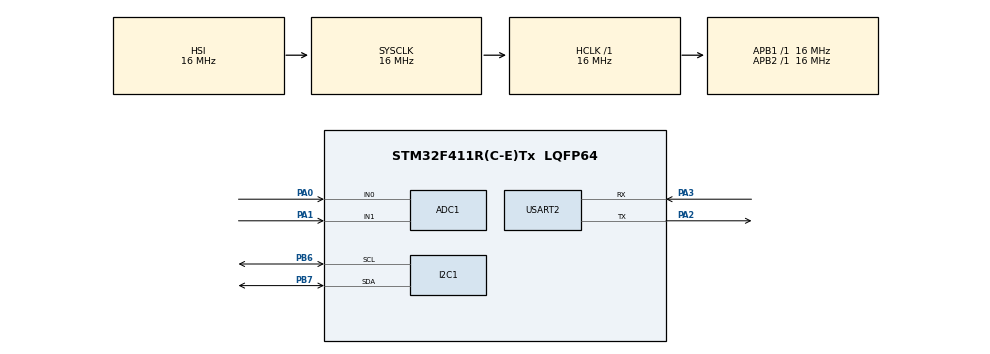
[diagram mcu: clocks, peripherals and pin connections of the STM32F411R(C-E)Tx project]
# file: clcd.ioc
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ADC1.Channel-0\#ChannelRegularConversion=ADC_CHANNEL_0
ADC1.Channel-1\#ChannelRegularConversion=ADC_CHANNEL_1
ADC1.ClockPrescaler=ADC_CLOCK_SYNC_PCLK_DIV6
ADC1.ContinuousConvMode=ENABLE
ADC1.DMAContinuousRequests=ENABLE
ADC1.InjNumberOfConversion=0
ADC1.NbrOfConversion=2
ADC1.NbrOfConversionFlag=1
ADC1.Rank-0\#ChannelRegularConversion=1
ADC1.Rank-1\#ChannelRegularConversion=2
ADC1.SamplingTime-0\#ChannelRegularConversion=ADC_SAMPLETIME_56CYCLES
ADC1.SamplingTime-1\#ChannelRegularConversion=ADC_SAMPLETIME_56CYCLES
ADC1.ScanConvMode=ENABLE
ADC1.master=1
Dma.ADC1.0.Direction=DMA_PERIPH_TO_MEMORY
Dma.ADC1.0.FIFOMode=DMA_FIFOMODE_DISABLE
Dma.ADC1.0.Instance=DMA2_Stream0
Dma.ADC1.0.MemDataAlignment=DMA_MDATAALIGN_HALFWORD
Dma.ADC1.0.MemInc=DMA_MINC_ENABLE
Dma.ADC1.0.Mode=DMA_CIRCULAR
Dma.ADC1.0.PeriphDataAlignment=DMA_PDATAALIGN_HALFWORD
Dma.ADC1.0.PeriphInc=DMA_PINC_DISABLE
Dma.ADC1.0.Priority=DMA_PRIORITY_LOW
Dma.Request0=ADC1
I2C1.I2C_Mode=I2C_Fast
Mcu.Family=STM32F4
Mcu.Name=STM32F411R(C-E)Tx
Mcu.Package=LQFP64
NVIC.DMA2_Stream0_IRQn=true\:0\:0\:false\:false\:true\:false\:true\:true
NVIC.PriorityGroup=NVIC_PRIORITYGROUP_4
NVIC.USART2_IRQn=true\:0\:0\:false\:false\:true\:true\:true\:true
PA0-WKUP.Signal=ADCx_IN0
PA1.Signal=ADCx_IN1
PA2.Mode=Asynchronous
PA2.Signal=USART2_TX
PA3.Mode=Asynchronous
PA3.Signal=USART2_RX
PB6.GPIO_Mode=GPIO_MODE_AF_OD
PB6.GPIO_Pu=GPIO_PULLUP
PB6.GPIO_Speed=GPIO_SPEED_FREQ_VERY_HIGH
PB6.Mode=I2C
PB6.Signal=I2C1_SCL
PB7.GPIO_Mode=GPIO_MODE_AF_OD
PB7.GPIO_Pu=GPIO_PULLUP
PB7.GPIO_Speed=GPIO_SPEED_FREQ_VERY_HIGH
PB7.Mode=I2C
PB7.Signal=I2C1_SDA
ProjectManager.HeapSize=0x200
ProjectManager.StackSize=0x400
ProjectManager.TargetToolchain=STM32CubeIDE
RCC.AHBFreq_Value=16000000
RCC.APB1Freq_Value=16000000
RCC.APB2Freq_Value=16000000
RCC.CortexFreq_Value=16000000
RCC.HSE_VALUE=25000000
RCC.HSI_VALUE=16000000
RCC.LSE_VALUE=32768
RCC.SYSCLKFreq_VALUE=16000000
RCC.VCOOutputFreq_Value=192000000
SH.ADCx_IN0.0=ADC1_IN0,IN0
SH.ADCx_IN1.0=ADC1_IN1,IN1
USART2.VirtualMode=VM_ASYNC
board=custom

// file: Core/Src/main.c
/* USER CODE BEGIN Header */
/**
  ******************************************************************************
  * @file           : main.c
  * @brief          : Main program body
  ******************************************************************************
  * @attention
  *
  * Copyright (c) 2024 STMicroelectronics.
  * All rights reserved.
  *
  * This software is licensed under terms that can be found in the LICENSE file
  * in the root directory of this software component.
  * If no LICENSE file comes with this software, it is provided AS-IS.
  *
  ******************************************************************************
  */
/* USER CODE END Header */
#include "main.h"

/* USER CODE BEGIN Includes */
#include "uart.h"
#include "I2C_CLCD.h"
/* USER CODE END Includes */

ADC_HandleTypeDef hadc1;
DMA_HandleTypeDef hdma_adc1;

I2C_HandleTypeDef hi2c1;

UART_HandleTypeDef huart2;

void SystemClock_Config(void);
static void MX_GPIO_Init(void);
static void MX_DMA_Init(void);
static void MX_I2C1_Init(void);
static void MX_USART2_UART_Init(void);
static void MX_ADC1_Init(void);

int main(void)
{

  /* MCU Configuration--------------------------------------------------------*/

  /* Reset of all peripherals, Initializes the Flash interface and the Systick. */
  HAL_Init();

  /* Configure the system clock */
  SystemClock_Config();

  /* Initialize all configured peripherals */
  MX_GPIO_Init();
  MX_DMA_Init();
  MX_I2C1_Init();
  MX_USART2_UART_Init();
  MX_ADC1_Init();
  /* USER CODE BEGIN 2 */
  initUart(&huart2);
  I2C_CLCD_init();
  I2C_CLCD_GotoXY(0, 0);
  I2C_CLCD_PutStr("                      ");
  I2C_CLCD_GotoXY(0, 1);
  I2C_CLCD_PutStr("                      ");
  I2C_CLCD_CustomFont(); //CustomFont Upload
//  I2C_CLCD_GotoXY(0, 0);
//  I2C_CLCD_PutStr("Hello world");
//  for(int i = 0;i<12;i++){
//     I2C_CLCD_Left();
//     HAL_Delay(100);
//  }
//  I2C_CLCD_ShiftStop();
//  I2C_CLCD_Cursor(1);
//  I2C_CLCD_CustomFont();
//  I2C_CLCD_GotoXY(12, 0);
//  I2C_CLCD_PutC(0);
//  I2C_CLCD_PutC(1);
//  I2C_CLCD_PutC(2);
//  I2C_CLCD_PutC(3);
//  I2C_CLCD_PutC(4);
//  I2C_CLCD_PutC(5);

  //0x00 ~ 0xff
  printf("i2c scan start\n");
  for (int address = 0; address < 256; address++){
     if(HAL_I2C_IsDeviceReady(&hi2c1, address, 0, 10) == HAL_OK){
        printf("%02x is ready\n", address);
     }
  }
  printf("i2c scan end\n");

   uint16_t adcValue[2];
   HAL_ADC_Start_DMA(&hadc1, (uint32_t *)adcValue, 2); //larger than channel's memory --> Can Average Data --> GOOD!
   I2C_CLCD_GotoXY(0,0);
   I2C_CLCD_PutC(0);
   I2C_CLCD_PutC(1);
   I2C_CLCD_PutC(2);
   I2C_CLCD_PutC(3);
//   I2C_CLCD_GotoXY(0,1);
   I2C_CLCD_PutC(4);
   I2C_CLCD_PutC(5);
   I2C_CLCD_PutC(6);
   I2C_CLCD_PutC(7);

   I2C_CLCD_CG_Update2();
  /* USER CODE END 2 */

  /* Infinite loop */
  /* USER CODE BEGIN WHILE */
  while (1)
  {
//     static int count = 0;
//     char str[20];
//     sprintf(str, "%6d", count);
//     I2C_CLCD_GotoXY(4+12, 1);
//     I2C_CLCD_PutStr(str);
//     count++;
//     HAL_Delay(50);

//     //A0 Conversion 0~4095
//     HAL_ADC_Start(&hadc1);
//     HAL_ADC_PollForConversion(&hadc1, 10);
//     uint16_t adcValue1 = HAL_ADC_GetValue(&hadc1);
//
//     //A1 Conversion
//     HAL_ADC_PollForConversion(&hadc1, 10);
//     uint16_t adcValue2 = HAL_ADC_GetValue(&hadc1);
//     HAL_ADC_Stop(&hadc1);
//
//     I2C_CLCD_Progressbar(adcValue1/51, 0); //0~4095 --> 0~80 mapping
//     I2C_CLCD_Progressbar(adcValue2/51, 1);

//     I2C_CLCD_Progressbar(adcValue[0]/51, 0); //0~4095 --> 0~80 mapping ch 0
//     I2C_CLCD_Progressbar(adcValue[1]/51, 1); //ch 1
     I2C_CLCD_CG_ScrollLeft2();
     I2C_CLCD_CG_DrawPixel2(39, 7-(adcValue[0]/585)); //273-->%15, 585 --> %7
     I2C_CLCD_CG_Update2();
     I2C_CLCD_GotoXY(9,1);

     char str[20];
     sprintf(str, "%5d",adcValue[0]); //1700 - 3200
     I2C_CLCD_PutStr(str);
     HAL_Delay(50);

    /* USER CODE END WHILE */

  }
}

void SystemClock_Config(void)
{
  RCC_OscInitTypeDef RCC_OscInitStruct = {0};
  RCC_ClkInitTypeDef RCC_ClkInitStruct = {0};

  /** Configure the main internal regulator output voltage
  */
  __HAL_RCC_PWR_CLK_ENABLE();
  __HAL_PWR_VOLTAGESCALING_CONFIG(PWR_REGULATOR_VOLTAGE_SCALE1);

  /** Initializes the RCC Oscillators according to the specified parameters
  * in the RCC_OscInitTypeDef structure.
  */
  RCC_OscInitStruct.OscillatorType = RCC_OSCILLATORTYPE_HSI;
  RCC_OscInitStruct.HSIState = RCC_HSI_ON;
  RCC_OscInitStruct.HSICalibrationValue = RCC_HSICALIBRATION_DEFAULT;
  RCC_OscInitStruct.PLL.PLLState = RCC_PLL_NONE;
  if (HAL_RCC_OscConfig(&RCC_OscInitStruct) != HAL_OK)
  {
    Error_Handler();
  }

  /** Initializes the CPU, AHB and APB buses clocks
  */
  RCC_ClkInitStruct.ClockType = RCC_CLOCKTYPE_HCLK|RCC_CLOCKTYPE_SYSCLK
                              |RCC_CLOCKTYPE_PCLK1|RCC_CLOCKTYPE_PCLK2;
  RCC_ClkInitStruct.SYSCLKSource = RCC_SYSCLKSOURCE_HSI;
  RCC_ClkInitStruct.AHBCLKDivider = RCC_SYSCLK_DIV1;
  RCC_ClkInitStruct.APB1CLKDivider = RCC_HCLK_DIV1;
  RCC_ClkInitStruct.APB2CLKDivider = RCC_HCLK_DIV1;

  if (HAL_RCC_ClockConfig(&RCC_ClkInitStruct, FLASH_LATENCY_0) != HAL_OK)
  {
    Error_Handler();
  }
}

static void MX_ADC1_Init(void)
{

  ADC_ChannelConfTypeDef sConfig = {0};

  /** Configure the global features of the ADC (Clock, Resolution, Data Alignment and number of conversion)
  */
  hadc1.Instance = ADC1;
  hadc1.Init.ClockPrescaler = ADC_CLOCK_SYNC_PCLK_DIV6;
  hadc1.Init.Resolution = ADC_RESOLUTION_12B;
  hadc1.Init.ScanConvMode = ENABLE;
  hadc1.Init.ContinuousConvMode = ENABLE;
  hadc1.Init.DiscontinuousConvMode = DISABLE;
  hadc1.Init.ExternalTrigConvEdge = ADC_EXTERNALTRIGCONVEDGE_NONE;
  hadc1.Init.ExternalTrigConv = ADC_SOFTWARE_START;
  hadc1.Init.DataAlign = ADC_DATAALIGN_RIGHT;
  hadc1.Init.NbrOfConversion = 2;
  hadc1.Init.DMAContinuousRequests = ENABLE;
  hadc1.Init.EOCSelection = ADC_EOC_SINGLE_CONV;
  if (HAL_ADC_Init(&hadc1) != HAL_OK)
  {
    Error_Handler();
  }

  /** Configure for the selected ADC regular channel its corresponding rank in the sequencer and its sample time.
  */
  sConfig.Channel = ADC_CHANNEL_0;
  sConfig.Rank = 1;
  sConfig.SamplingTime = ADC_SAMPLETIME_56CYCLES;
  if (HAL_ADC_ConfigChannel(&hadc1, &sConfig) != HAL_OK)
  {
    Error_Handler();
  }

  /** Configure for the selected ADC regular channel its corresponding rank in the sequencer and its sample time.
  */
  sConfig.Channel = ADC_CHANNEL_1;
  sConfig.Rank = 2;
  if (HAL_ADC_ConfigChannel(&hadc1, &sConfig) != HAL_OK)
  {
    Error_Handler();
  }

}

static void MX_I2C1_Init(void)
{

  hi2c1.Instance = I2C1;
  hi2c1.Init.ClockSpeed = 400000;
  hi2c1.Init.DutyCycle = I2C_DUTYCYCLE_2;
  hi2c1.Init.OwnAddress1 = 0;
  hi2c1.Init.AddressingMode = I2C_ADDRESSINGMODE_7BIT;
  hi2c1.Init.DualAddressMode = I2C_DUALADDRESS_DISABLE;
  hi2c1.Init.OwnAddress2 = 0;
  hi2c1.Init.GeneralCallMode = I2C_GENERALCALL_DISABLE;
  hi2c1.Init.NoStretchMode = I2C_NOSTRETCH_DISABLE;
  if (HAL_I2C_Init(&hi2c1) != HAL_OK)
  {
    Error_Handler();
  }

}

static void MX_USART2_UART_Init(void)
{

  huart2.Instance = USART2;
  huart2.Init.BaudRate = 115200;
  huart2.Init.WordLength = UART_WORDLENGTH_8B;
  huart2.Init.StopBits = UART_STOPBITS_1;
  huart2.Init.Parity = UART_PARITY_NONE;
  huart2.Init.Mode = UART_MODE_TX_RX;
  huart2.Init.HwFlowCtl = UART_HWCONTROL_NONE;
  huart2.Init.OverSampling = UART_OVERSAMPLING_16;
  if (HAL_UART_Init(&huart2) != HAL_OK)
  {
    Error_Handler();
  }

}

static void MX_DMA_Init(void)
{

  /* DMA controller clock enable */
  __HAL_RCC_DMA2_CLK_ENABLE();

  /* DMA interrupt init */
  /* DMA2_Stream0_IRQn interrupt configuration */
  HAL_NVIC_SetPriority(DMA2_Stream0_IRQn, 0, 0);
  HAL_NVIC_EnableIRQ(DMA2_Stream0_IRQn);

}

static void MX_GPIO_Init(void)
{

  /* GPIO Ports Clock Enable */
  __HAL_RCC_GPIOA_CLK_ENABLE();
  __HAL_RCC_GPIOB_CLK_ENABLE();

}

void Error_Handler(void)
{
  __disable_irq();
  while (1)
  {
  }
}
